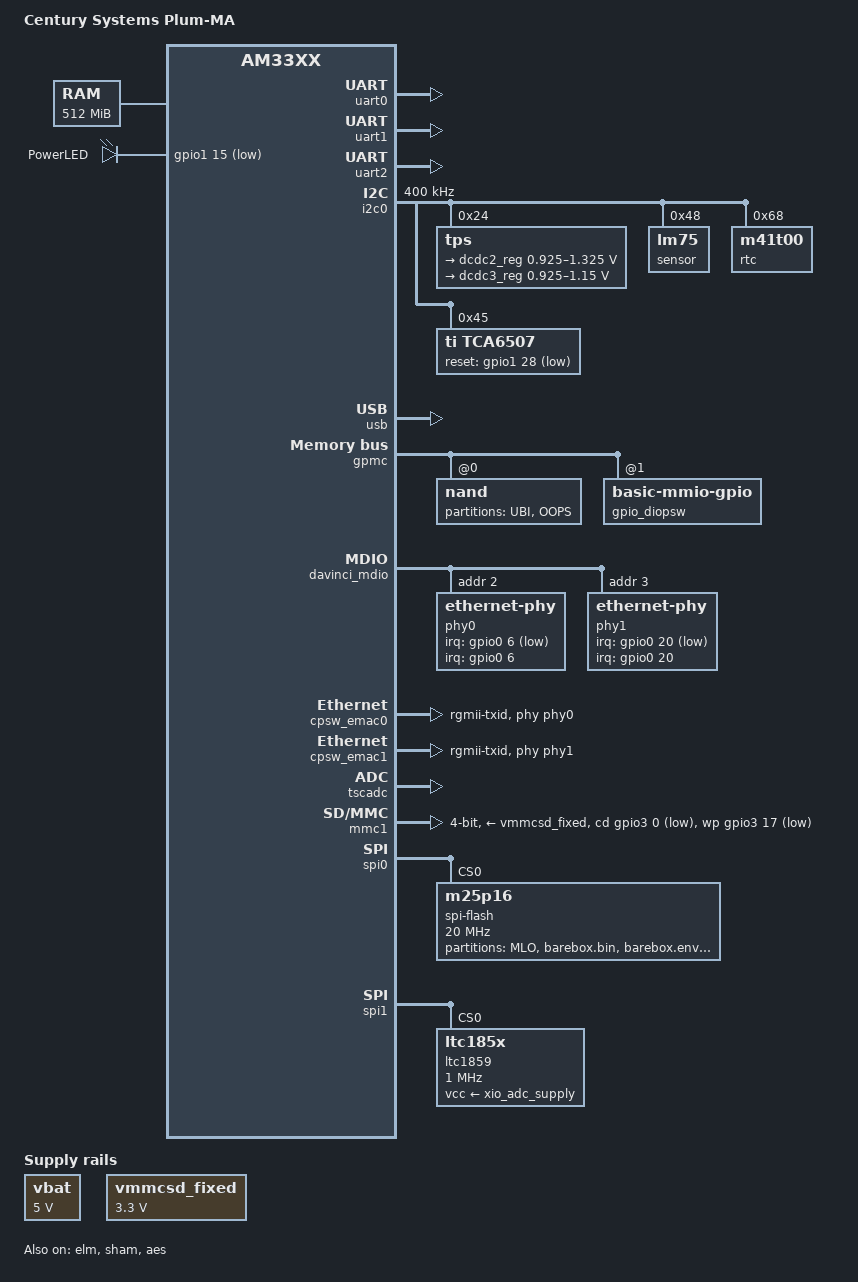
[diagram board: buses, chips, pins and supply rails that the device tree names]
/*
 * Copyright (C) 2012 Texas Instruments Incorporated - http://www.ti.com/
 *
 * This program is free software; you can redistribute it and/or modify
 * it under the terms of the GNU General Public License version 2 as
 * published by the Free Software Foundation.
 */
/dts-v1/;

#include "am33xx.dtsi"

/ {
	model = "Century Systems Plum-MA";
	compatible = "ti,plum-ma", "ti,am33xx";

	cpus {
		cpu@0 {
			cpu0-supply = <&dcdc2_reg>;

			/*
			 * To consider voltage drop between PMIC and SoC,
			 * tolerance value is reduced to 2% from 4% and
			 * voltage value is increased as a precaution.
			 */
			operating-points = <
				/* kHz    uV */
				1000000 1325000
				800000  1300000
				600000  1112000
				300000   969000
			>;
		};
	};

	memory {
		device_type = "memory";
		reg = <0x80000000 0x20000000>; /* 512 MB */
	};

	vbat: fixedregulator_vbat@0 {
		compatible = "regulator-fixed";
		regulator-name = "vbat";
		regulator-min-microvolt = <5000000>;
		regulator-max-microvolt = <5000000>;
		regulator-boot-on;
	};

	ocp {
		rtc@44e3e000 {
			compatible = "ti,am3352-rtc";
			ti,system-power-controller;
			ti,enable-rtc-clk32k;
		};

		gpio0: gpio@44e07000 {
			wakeup-source;
		};
	};

	vmmcsd_fixed: fixedregulator_mmc@0 {
		compatible = "regulator-fixed";
		regulator-name = "vmmcsd_fixed";
		regulator-min-microvolt = <3300000>;
		regulator-max-microvolt = <3300000>;
	};

	xio_adc_supply: fixedregulator_adc@0 {
		compatible = "regulator-fixed";
		regulator-name = "xio-adc-supply";
		regulator-min-microvolt = <15000000>;
		regulator-max-microvolt = <15000000>;
		status = "disabled";
	};

	xio_di_supply: fixedregulator_di@0 {
		compatible = "regulator-fixed";
		regulator-name = "xio-di-supply";
		regulator-min-microvolt = <24000000>;
		regulator-max-microvolt = <24000000>;
		status = "disabled";
	};

	xio_supply_ctrl: xio_supply_ctrl {
		compatible = "gpio-leds";
		status = "disabled";

		led@Supply0 {
			label = "AI_Power";
			gpios = <&gpiox_0x00 4 GPIO_ACTIVE_HIGH>;
			default-state = "on";
			retain-suspend;
		};

		led@Supply1 {
			label = "DI_Power";
			gpios = <&gpiox_0x00 5 GPIO_ACTIVE_HIGH>;
			default-state = "on";
			retain-suspend;
		};
	};

	leds_onboard: leds_onboard {
		pinctrl-names = "default";
		pinctrl-0 = <&power_led_pins>;

		compatible = "gpio-leds";
		status = "okay";

		led@1 {
			label = "PowerLED";
			gpios = <&gpio1 15 GPIO_ACTIVE_LOW>;
			default-state = "on";
		};
	};

	leds_foma: leds_foma {
		compatible = "gpio-leds";
		status = "disabled";

		led@x1 {
			label = "MobileLED_G3";
			gpios = <&gpiox_0x14 2 GPIO_ACTIVE_HIGH>;
		};

		led@x2 {
			label = "MobileLED_G2";
			gpios = <&gpiox_0x14 3 GPIO_ACTIVE_HIGH>;
		};

		led@x3 {
			label = "MobileLED_G1";
			gpios = <&gpiox_0x14 4 GPIO_ACTIVE_HIGH>;
		};

		led@x4 {
			label = "MobileLED_R3";
			gpios = <&gpiox_0x14 5 GPIO_ACTIVE_HIGH>;
		};

		led@x5 {
			label = "MobileLED_R2";
			gpios = <&gpiox_0x14 6 GPIO_ACTIVE_HIGH>;
		};

		led@x6 {
			label = "MobileLED_R1";
			gpios = <&gpiox_0x14 7 GPIO_ACTIVE_HIGH>;
		};
	};

	leds_foma_ctrl: leds_foma_ctrl {
		compatible = "gpio-leds";
		status = "disabled";

		led@RESETN {
			label = "Mobile_RESETN";
			gpios = <&gpiox_0x10 6 GPIO_ACTIVE_LOW>;
			linux,default-trigger = "oneshot";
		};

		led@MobilePower {
			label = "Mobile_Power";
			gpios = <&gpiox_0x10 0 GPIO_ACTIVE_HIGH>;
			default-state = "on";
		};
	};

	leds_amp_ctrl: leds_amp_ctrl {
		compatible = "gpio-leds";
		status = "disabled";

		led@PWRKEY {
			label = "Mobile_PWRKEY";
			gpios = <&gpiox_0x10 7 GPIO_ACTIVE_HIGH>;
			linux,default-trigger = "oneshot";
		};

		led@RESETN {
			label = "Mobile_RESETN";
			gpios = <&gpiox_0x10 6 GPIO_ACTIVE_LOW>;
			linux,default-trigger = "oneshot";
		};

		led@MobilePower {
			label = "Mobile_Power";
			gpios = <&gpiox_0x10 0 GPIO_ACTIVE_HIGH>;
		};
	};

	leds_amp_wlan_ctrl: leds_amp_wlan_ctrl {
		compatible = "gpio-leds";
		status = "disabled";

		led@PWRKEY {
			label = "Mobile_PWRKEY";
			gpios = <&gpiox_0x10 7 GPIO_ACTIVE_HIGH>;
			linux,default-trigger = "oneshot";
		};

		led@RESETN {
			label = "Mobile_RESETN";
			gpios = <&gpiox_0x10 6 GPIO_ACTIVE_LOW>;
			linux,default-trigger = "oneshot";
		};

		led@MobilePowerSel {
			label = "Mobile_PowerSel";
			gpios = <&gpiox_0x10 1 GPIO_ACTIVE_HIGH>;
		};

		led@MobilePower {
			label = "Mobile_Power";
			gpios = <&gpiox_0x10 0 GPIO_ACTIVE_HIGH>;
			default-state = "on";
			retain-suspend;
		};
};

	leds_au: leds_au {
		compatible = "gpio-leds";
		status = "disabled";

		led@x1 {
			label = "MobileLED_G3";
			gpios = <&gpiox_0x0e 2 GPIO_ACTIVE_HIGH>;
		};

		led@x2 {
			label = "MobileLED_G2";
			gpios = <&gpiox_0x0e 3 GPIO_ACTIVE_HIGH>;
		};

		led@x3 {
			label = "MobileLED_G1";
			gpios = <&gpiox_0x0e 4 GPIO_ACTIVE_HIGH>;
		};

		led@x4 {
			label = "MobileLED_R3";
			gpios = <&gpiox_0x0e 5 GPIO_ACTIVE_HIGH>;
		};

		led@x5 {
			label = "MobileLED_R2";
			gpios = <&gpiox_0x0e 6 GPIO_ACTIVE_HIGH>;
		};

		led@x6 {
			label = "MobileLED_R1";
			gpios = <&gpiox_0x0e 7 GPIO_ACTIVE_HIGH>;
		};
	};

	leds_au_ctrl: leds_au_ctrl {
		compatible = "gpio-leds";
		status = "disabled";

		led@MobilePower {
			label = "Mobile_Power";
			gpios = <&gpiox_0x08 0 GPIO_ACTIVE_HIGH>;
		};

		led@RESETN {
			label = "Mobile_RESETN";
			gpios = <&gpiox_0x08 6 GPIO_ACTIVE_LOW>;
			linux,default-trigger = "oneshot";
		};

		led@PWR_ON {
			label = "Mobile_PWR_ON";
			gpios = <&gpiox_0x08 7 GPIO_ACTIVE_LOW>;
			linux,default-trigger = "oneshot";
		};
	};

	leds_au_wlan_ctrl: leds_au_wlan_ctrl {
		compatible = "gpio-leds";
		status = "disabled";

		led@MobilePower {
			label = "Mobile_Power";
			gpios = <&gpiox_0x0e_wlan 0 GPIO_ACTIVE_HIGH>;
			default-state = "on";
			retain-suspend;
		};

		led@MobilePowerSel {
			label = "Mobile_PowerSel";
			gpios = <&gpiox_0x0e_wlan 1 GPIO_ACTIVE_HIGH>;
		};

		led@RESETN {
			label = "Mobile_RESETN";
			gpios = <&gpiox_0x0e_wlan 6 GPIO_ACTIVE_LOW>;
			linux,default-trigger = "oneshot";
		};

		led@PWR_ON {
			label = "Mobile_PWR_ON";
			gpios = <&gpiox_0x0e_wlan 7 GPIO_ACTIVE_LOW>;
			linux,default-trigger = "oneshot";
		};
	};

	leds_um03_ctrl: leds_um03_ctrl {
		compatible = "gpio-leds";
		status = "disabled";

		led@MobilePower {
			label = "Mobile_Power";
			gpios = <&gpiox_0x08 0 GPIO_ACTIVE_HIGH>;
			default-state = "on";
		};

		led@XER {
			label = "Mobile_XER";
			gpios = <&gpiox_0x08 3 GPIO_ACTIVE_LOW>;
		};

		led@USB_H_RDY {
			label = "Mobile_USB_H_RDY";
			gpios = <&gpiox_0x08 4 GPIO_ACTIVE_LOW>;
			default-state = "on";
		};

		led@PWRKEY_OFF {
			label = "Mobile_PWRKEY_OFF";
			gpios = <&gpiox_0x08 5 GPIO_ACTIVE_LOW>;
			linux,default-trigger = "oneshot";
		};

		led@SYSRST {
			label = "Mobile_SYSRST";
			gpios = <&gpiox_0x08 6 GPIO_ACTIVE_LOW>;
		};

		led@PWRKEY_ON {
			label = "Mobile_PWRKEY_ON";
			gpios = <&gpiox_0x08 7 GPIO_ACTIVE_LOW>;
			linux,default-trigger = "oneshot";
		};
	};

	leds_wlan_ctrl: leds_wlan_ctrl {
		compatible = "gpio-leds";
		status = "disabled";

		led@WLAN_Power {
			label = "WLAN_Power";
			gpios = <&gpiox_0x08_wlan 0 GPIO_ACTIVE_HIGH>;
			default-state = "on";
		};

		led@WLAN_PowerSel {
			label = "WLAN_PowerSel";
			gpios = <&gpiox_0x08_wlan 1 GPIO_ACTIVE_HIGH>;
			retain-suspend;
		};

		led@WPS_Pin {
			label = "WPS_Pin";
			gpios = <&gpiox_0x08_wlan 2 GPIO_ACTIVE_HIGH>;
			default-state = "off";
		};
	};

	leds_mobile_wlan: leds_mobile_wlan {
		compatible = "gpio-leds";
		status = "disabled";

		led@x1 {
			label = "WiFiLED_G1";
			gpios = <&gpiox_0x14 0 GPIO_ACTIVE_HIGH>;
			linux,default-trigger = "phy0tpt";
		};

		led@x2 {
			label = "WiFiLED_R1";
			gpios = <&gpiox_0x14 1 GPIO_ACTIVE_HIGH>;
			linux,default-trigger = "phy0rx";
		};

		led@x3 {
			label = "MobileLED_G3";
			gpios = <&gpiox_0x14 2 GPIO_ACTIVE_HIGH>;
		};

		led@x4 {
			label = "MobileLED_G2";
			gpios = <&gpiox_0x14 3 GPIO_ACTIVE_HIGH>;
		};

		led@x5 {
			label = "MobileLED_G1";
			gpios = <&gpiox_0x14 4 GPIO_ACTIVE_HIGH>;
		};

		led@x6 {
			label = "MobileLED_R3";
			gpios = <&gpiox_0x14 5 GPIO_ACTIVE_HIGH>;
		};

		led@x7 {
			label = "MobileLED_R2";
			gpios = <&gpiox_0x14 6 GPIO_ACTIVE_HIGH>;
		};

		led@x8 {
			label = "MobileLED_R1";
			gpios = <&gpiox_0x14 7 GPIO_ACTIVE_HIGH>;
		};
	};

	leds_mobile_wlan_mediatek: leds_mobile_wlan_mediatek {
		compatible = "gpio-leds";
		status = "disabled";

		led@x1 {
			label = "WiFiLED_G1";
			gpios = <&gpiox_0x14 0 GPIO_ACTIVE_HIGH>;
			linux,default-trigger = "phy0radio";
		};

		led@x2 {
			label = "WiFiLED_R1";
			gpios = <&gpiox_0x14 1 GPIO_ACTIVE_HIGH>;
			linux,default-trigger = "phy0rx";
		};

		led@x3 {
			label = "MobileLED_G3";
			gpios = <&gpiox_0x14 2 GPIO_ACTIVE_HIGH>;
		};

		led@x4 {
			label = "MobileLED_G2";
			gpios = <&gpiox_0x14 3 GPIO_ACTIVE_HIGH>;
		};

		led@x5 {
			label = "MobileLED_G1";
			gpios = <&gpiox_0x14 4 GPIO_ACTIVE_HIGH>;
		};

		led@x6 {
			label = "MobileLED_R3";
			gpios = <&gpiox_0x14 5 GPIO_ACTIVE_HIGH>;
		};

		led@x7 {
			label = "MobileLED_R2";
			gpios = <&gpiox_0x14 6 GPIO_ACTIVE_HIGH>;
		};

		led@x8 {
			label = "MobileLED_R1";
			gpios = <&gpiox_0x14 7 GPIO_ACTIVE_HIGH>;
		};
	};

	leds_do: leds_do {
		compatible = "gpio-leds";
		status = "disabled";

		led@do0 {
			label = "DO_0";
			gpios = <&gpiox_0x80 0 GPIO_ACTIVE_HIGH>;
		};

		led@do1 {
			label = "DO_1";
			gpios = <&gpiox_0x80 1 GPIO_ACTIVE_HIGH>;
		};

		led@do2 {
			label = "DO_2";
			gpios = <&gpiox_0x80 2 GPIO_ACTIVE_HIGH>;
		};

		led@do3 {
			label = "DO_3";
			gpios = <&gpiox_0x80 3 GPIO_ACTIVE_HIGH>;
		};

		led@do4 {
			label = "DO_4";
			gpios = <&gpiox_0x80 4 GPIO_ACTIVE_HIGH>;
		};

		led@do5 {
			label = "DO_5";
			gpios = <&gpiox_0x80 5 GPIO_ACTIVE_HIGH>;
		};

		led@do6 {
			label = "DO_6";
			gpios = <&gpiox_0x80 6 GPIO_ACTIVE_HIGH>;
		};

		led@do7 {
			label = "DO_7";
			gpios = <&gpiox_0x80 7 GPIO_ACTIVE_HIGH>;
		};
	};

	aliases {
		xio_02 = &xio_02;
		xio_03 = &xio_03;
		xio_04 = &xio_04;

		xio_06 = &xio_06;

		xio_07 = &xio_07_0a;
		xio_08 = &xio_07_0a;
		xio_09 = &xio_07_0a;
		xio_0a = &xio_07_0a;

		xio_0b = &xio_0b;
		xio_0c = &xio_0c;

		xio_0d = &xio_0d_0e;
		xio_0e = &xio_0d_0e;

		xio_0f = &xio_0f_10;
		xio_10 = &xio_0f_10;

		xio_12 = &xio_12;
		xio_13 = &xio_13_14;
		xio_14 = &xio_13_14;
		xio_15 = &xio_15;
		xio_16 = &xio_16_17;
		xio_17 = &xio_16_17;

		xio_1d = &xio_1d_1e;
		xio_1e = &xio_1d_1e;
	};

	/* XIO: (id: 0x02) FOMA only */
	xio_02: xio@0x02 {
		#size-cells = <0>;
		devices = <&gpiox_0x10 &gpiox_0x12 &gpiox_0x14
			   &leds_foma &leds_foma_ctrl>;
	};

	/* XIO: (id: 0x03) FOMA/UARTx2/DIO */
	xio_03: xio@0x03 {
		#size-cells = <0>;
		devices = <&uartx2_0x20 &uartx2_0x30
			   &gpiox_0x10 &gpiox_0x12 &gpiox_0x14
			   &gpiox_0x18 &gpiox_0x1a
			   &gpiox_0x40 &gpiox_0x80
			   &leds_foma &leds_foma_ctrl
			   &leds_do>;
	};

	/* XIO: (id: 0x04) UARTx2/DIO */
	xio_04: xio@0x04 {
		#size-cells = <0>;
		devices = <&uartx2_0x20 &uartx2_0x30
			   &gpiox_0x14
			   &gpiox_0x18 &gpiox_0x1a
			   &gpiox_0x40 &gpiox_0x80
			   &leds_foma &leds_do>;
	};

	/* XIO: (id: 0x06) KYM11 */
	xio_06: xio@0x06 {
		#size-cells = <0>;
		devices = <&gpiox_0x08 &gpiox_0x0a &gpiox_0x0c &gpiox_0x0e
			   &gpiox_0x04_kym11
			   &leds_au &leds_au_ctrl>;
	};

	/* XIO: (id: 0x07 .. 0x0a) FOMA/DIO(2x2) */
	xio_07_0a: xio@0x07_0a {
		#size-cells = <0>;
		devices = <&gpiox_0x10 &gpiox_0x12 &gpiox_0x14
			   &gpiox_0x40 &gpiox_0x80
			   &gpiox_0x04_lisa
			   &leds_foma &leds_foma_ctrl>;
	};

	/* XIO: (id: 0x0b) KYM11_AD */
	xio_0b: xio@0x0b {
		#size-cells = <0>;
		devices = <&xio_supply_ctrl &xio_di_supply &xio_adc_supply
			   &spi1
			   &uartx2_0x20
			   &gpiox_0x00 &gpiox_0x08 &gpiox_0x0a &gpiox_0x0c &gpiox_0x0e
			   &gpiox_0x18
			   &gpiox_0x40 &gpiox_0x80
			   &gpiox_0x04_kym11
			   &leds_au &leds_au_ctrl &leds_do>;
	};

	/* XIO: (id: 0x0c) UM03_AD */
	xio_0c: xio@0x0c {
		#size-cells = <0>;
		devices = <&xio_supply_ctrl &xio_di_supply &xio_adc_supply
			   &spi1
			   &uartx2_0x20
			   &gpiox_0x00 &gpiox_0x08
			   &gpiox_0x0a_um03ko &gpiox_0x0c_um03ko &gpiox_0x0e
			   &gpiox_0x18
			   &gpiox_0x40 &gpiox_0x80
			   &gpiox_0x04_um03ko
			   &leds_au &leds_um03_ctrl &leds_do>;
	};

	/* XIO: (id: 0x0d .. 0x0e) LTE/DIO(2x2) */
	xio_0d_0e: xio@0x0d_0e {
		#size-cells = <0>;
		devices = <&gpiox_0x10 &gpiox_0x12 &gpiox_0x14
			   &gpiox_0x40 &gpiox_0x80
			   &gpiox_0x04_lisa
			   &leds_foma &leds_amp_ctrl>;
	};

	/* XIO: (id: 0x0f .. 0x10) FOMA/RM-92x */
	xio_0f_10: xio@0x0f_10 {
		#size-cells = <0>;
		devices = <&uartx2_0x20
			   &gpiox_0x10 &gpiox_0x12 &gpiox_0x14
			   &gpiox_0x18
			   &gpiox_0x04_lisa
			   &leds_foma &leds_foma_ctrl>;
	};

	/* XIO: (id: 0x12) KYM_WLAN (Atheros) */
	xio_12: xio@0x12 {
		#size-cells = <0>;
		devices = <&gpiox_0x04_kym11
			   &gpiox_0x08_wlan &gpiox_0x0e_wlan
			   &gpiox_0x10_kymwlan &gpiox_0x12_kymwlan &gpiox_0x14
			   &leds_mobile_wlan &leds_wlan_ctrl &leds_au_wlan_ctrl>;
	};

	/* XIO: (id: 0x13/0x14) AMP_WLAN (Atheros) */
	xio_13_14: xio@0x13_14 {
		#size-cells = <0>;
		devices = <&gpiox_0x04_lisa
			   &gpiox_0x08_wlan &gpiox_0x10 &gpiox_0x12 &gpiox_0x14
			   &leds_amp_wlan_ctrl &leds_mobile_wlan &leds_wlan_ctrl>;
	};

	/* XIO: (id: 0x15) KYM_WLAN (Mediatek) */
	xio_15: xio@0x15 {
		#size-cells = <0>;
		devices = <&gpiox_0x04_kym11
			   &gpiox_0x08_wlan &gpiox_0x0e_wlan
			   &gpiox_0x10_kymwlan &gpiox_0x12_kymwlan &gpiox_0x14
			   &leds_mobile_wlan_mediatek &leds_wlan_ctrl &leds_au_wlan_ctrl>;
	};

	/* XIO: (id: 0x16/0x17) AMP_WLAN (Mediatek) */
	xio_16_17: xio@0x16_17 {
		#size-cells = <0>;
		devices = <&gpiox_0x04_lisa
			   &gpiox_0x08_wlan &gpiox_0x10 &gpiox_0x12 &gpiox_0x14
			   &leds_amp_wlan_ctrl &leds_mobile_wlan_mediatek &leds_wlan_ctrl>;
	};

	/* XIO: (id: 0x1d/0x1e) AMP_AD */
	xio_1d_1e: xio@0x1d_1e {
		#size-cells = <0>;
		devices = <&xio_supply_ctrl &xio_di_supply &xio_adc_supply
			   &spi1
			   &uartx2_0x20
			   &gpiox_0x00 &gpiox_0x08
			   &gpiox_0x10 &gpiox_0x12 &gpiox_0x14
			   &gpiox_0x18
			   &gpiox_0x40 &gpiox_0x80
			   &gpiox_0x04_lisa
			   &leds_foma &leds_amp_wlan_ctrl &leds_do>;
	};
};

&am33xx_pinmux {
	pinctrl-names = "default";
	//pinctrl-0 = <&clkout2_pin>;

	i2c0_pins: pinmux_i2c0_pins {
		pinctrl-single,pins = <
			0x188 (PIN_INPUT_PULLUP | MUX_MODE0)	/* i2c0_sda.i2c0_sda */
			0x18c (PIN_INPUT_PULLUP | MUX_MODE0)	/* i2c0_scl.i2c0_scl */

			/* TCA6507 Reset# */
			0x078 (PIN_OUTPUT | MUX_MODE7)		/* gpmc_ben1.gpio1_28 */
		>;
	};

	uart0_pins: pinmux_uart0_pins {
		pinctrl-single,pins = <
			0x170 (PIN_INPUT | MUX_MODE0)  /* uart0_rxd.uart0_rxd */
			0x174 (PIN_OUTPUT | MUX_MODE0) /* uart0_txd.uart0_txd */
			0x16c (PIN_OUTPUT | MUX_MODE0) /* uart0_rtsn.uart0_rtsn */
			0x168 (PIN_INPUT | MUX_MODE0)  /* uart0_ctsn.uart0_ctsn */
			0x0e0 (PIN_OUTPUT | MUX_MODE7) /* lcd_vsync.gpio2_22 (DTR) */
			0x0e4 (PIN_INPUT | MUX_MODE7)  /* lcd_hsync.gpio2_23 (DSR) */
			0x0e8 (PIN_INPUT | MUX_MODE7)  /* lcd_pclk.gpio2_24  (DCD) */
		>;
	};

	uart1_pins: pinmux_uart1_pins {
		pinctrl-single,pins = <
			0x180 (PIN_INPUT | MUX_MODE0)  /* uart1_rxd.uart1_rxd */
			0x184 (PIN_OUTPUT | MUX_MODE0) /* uart1_txd.uart1_txd */
			0x17c (PIN_OUTPUT | MUX_MODE0) /* uart1_rtsn.uart1_rtsn */
			0x178 (PIN_INPUT | MUX_MODE0)  /* uart1_ctsn.uart1_ctsn */
			0x030 (PIN_OUTPUT | MUX_MODE7) /* gpmc_ad12.gpio1_12 (DTR) */
			0x034 (PIN_INPUT | MUX_MODE7)  /* gpmc_ad13.gpio1_13 (DSR) */
			0x038 (PIN_INPUT | MUX_MODE7)  /* gpmc_ad14.gpio1_14 (DCD) */
			0x02c (PIN_INPUT | MUX_MODE7)  /* gpmc_ad11.gpio0_27 (RI)  */

			0x1a8 (PIN_OUTPUT | MUX_MODE7) /* mcasp0_axr1.gpio3_20   (TxE) */
			0x1ac (PIN_OUTPUT | MUX_MODE7) /* mcasp0_ahclkx.gpio3_21 (RxE) */
		>;
	};

	uart2_pins: pinmux_uart2_pins {
		pinctrl-single,pins = <
			0x110 (PIN_INPUT | MUX_MODE6)  /* mii1_crs.uart2_rxd */
			0x10c (PIN_OUTPUT | MUX_MODE6) /* mii1_rx_er.uart2_txd */
		>;
	};

	nandflash_pins_s0: nandflash_pins_s0 {
		pinctrl-single,pins = <
			0x0 (PIN_INPUT | MUX_MODE0)	/* gpmc_ad0.gpmc_ad0 */
			0x4 (PIN_INPUT | MUX_MODE0)	/* gpmc_ad1.gpmc_ad1 */
			0x8 (PIN_INPUT | MUX_MODE0)	/* gpmc_ad2.gpmc_ad2 */
			0xc (PIN_INPUT | MUX_MODE0)	/* gpmc_ad3.gpmc_ad3 */
			0x10 (PIN_INPUT | MUX_MODE0)	/* gpmc_ad4.gpmc_ad4 */
			0x14 (PIN_INPUT | MUX_MODE0)	/* gpmc_ad5.gpmc_ad5 */
			0x18 (PIN_INPUT | MUX_MODE0)	/* gpmc_ad6.gpmc_ad6 */
			0x1c (PIN_INPUT | MUX_MODE0)	/* gpmc_ad7.gpmc_ad7 */
			0x70 (PIN_INPUT | MUX_MODE0)	/* gpmc_wait0.gpmc_wait0 */
			0x74 (PIN_OUTPUT | MUX_MODE7)	/* gpmc_wpn.gpio0_30 */
			0x7c (PIN_OUTPUT | MUX_MODE0)	/* gpmc_csn0.gpmc_csn0  */
			0x90 (PIN_OUTPUT | MUX_MODE0)	/* gpmc_advn_ale.gpmc_advn_ale */
			0x94 (PIN_OUTPUT | MUX_MODE0)	/* gpmc_oen_ren.gpmc_oen_ren */
			0x98 (PIN_OUTPUT | MUX_MODE0)	/* gpmc_wen.gpmc_wen */
			0x9c (PIN_OUTPUT | MUX_MODE0)	/* gpmc_be0n_cle.gpmc_be0n_cle */
		>;
	};

	cpsw_default: cpsw_default {
		pinctrl-single,pins = <
			/* Slave 1 */
			0x114 (PIN_OUTPUT_PULLDOWN | MUX_MODE2) /* mii1_txen.rgmii1_tctl */
			0x118 (PIN_INPUT_PULLDOWN | MUX_MODE2)	/* mii1_rxdv.rgmii1_rctl */
			0x11c (PIN_OUTPUT_PULLDOWN | MUX_MODE2) /* mii1_txd3.rgmii1_td3 */
			0x120 (PIN_OUTPUT_PULLDOWN | MUX_MODE2) /* mii1_txd2.rgmii1_td2 */
			0x124 (PIN_OUTPUT_PULLDOWN | MUX_MODE2) /* mii1_txd1.rgmii1_td1 */
			0x128 (PIN_OUTPUT_PULLDOWN | MUX_MODE2) /* mii1_txd0.rgmii1_td0 */
			0x12c (PIN_OUTPUT_PULLDOWN | MUX_MODE2) /* mii1_txclk.rgmii1_tclk */
			0x130 (PIN_INPUT_PULLDOWN | MUX_MODE2)	/* mii1_rxclk.rgmii1_rclk */
			0x134 (PIN_INPUT_PULLDOWN | MUX_MODE2)	/* mii1_rxd3.rgmii1_rd3 */
			0x138 (PIN_INPUT_PULLDOWN | MUX_MODE2)	/* mii1_rxd2.rgmii1_rd2 */
			0x13c (PIN_INPUT_PULLDOWN | MUX_MODE2)	/* mii1_rxd1.rgmii1_rd1 */
			0x140 (PIN_INPUT_PULLDOWN | MUX_MODE2)	/* mii1_rxd0.rgmii1_rd0 */

			/* Slave 2 */
			0x40 (PIN_OUTPUT_PULLDOWN | MUX_MODE2)	/* gpmc_a0.rgmii2_tctl */
			0x44 (PIN_INPUT_PULLDOWN | MUX_MODE2)	/* gpmc_a1.rgmii2_rctl */
			0x48 (PIN_OUTPUT_PULLDOWN | MUX_MODE2)	/* gpmc_a2.rgmii2_td3 */
			0x4c (PIN_OUTPUT_PULLDOWN | MUX_MODE2)	/* gpmc_a3.rgmii2_td2 */
			0x50 (PIN_OUTPUT_PULLDOWN | MUX_MODE2)	/* gpmc_a4.rgmii2_td1 */
			0x54 (PIN_OUTPUT_PULLDOWN | MUX_MODE2)	/* gpmc_a5.rgmii2_td0 */
			0x58 (PIN_OUTPUT_PULLDOWN | MUX_MODE2)	/* gpmc_a6.rgmii2_tclk */
			0x5c (PIN_INPUT_PULLDOWN | MUX_MODE2)	/* gpmc_a7.rgmii2_rclk */
			0x60 (PIN_INPUT_PULLDOWN | MUX_MODE2)	/* gpmc_a8.rgmii2_rd3 */
			0x64 (PIN_INPUT_PULLDOWN | MUX_MODE2)	/* gpmc_a9.rgmii2_rd2 */
			0x68 (PIN_INPUT_PULLDOWN | MUX_MODE2)	/* gpmc_a10.rgmii2_rd1 */
			0x6c (PIN_INPUT_PULLDOWN | MUX_MODE2)	/* gpmc_a11.rgmii2_rd0 */
		>;
	};

	cpsw_sleep: cpsw_sleep {
		pinctrl-single,pins = <
			/* Slave 1 reset value */
			0x114 (PIN_INPUT_PULLDOWN | MUX_MODE7)
			0x118 (PIN_INPUT_PULLDOWN | MUX_MODE7)
			0x11c (PIN_INPUT_PULLDOWN | MUX_MODE7)
			0x120 (PIN_INPUT_PULLDOWN | MUX_MODE7)
			0x124 (PIN_INPUT_PULLDOWN | MUX_MODE7)
			0x128 (PIN_INPUT_PULLDOWN | MUX_MODE7)
			0x12c (PIN_INPUT_PULLDOWN | MUX_MODE7)
			0x130 (PIN_INPUT_PULLDOWN | MUX_MODE7)
			0x134 (PIN_INPUT_PULLDOWN | MUX_MODE7)
			0x138 (PIN_INPUT_PULLDOWN | MUX_MODE7)
			0x13c (PIN_INPUT_PULLDOWN | MUX_MODE7)
			0x140 (PIN_INPUT_PULLDOWN | MUX_MODE7)

			/* Slave 2 reset value*/
			0x40 (PIN_INPUT_PULLDOWN | MUX_MODE7)
			0x44 (PIN_INPUT_PULLDOWN | MUX_MODE7)
			0x48 (PIN_INPUT_PULLDOWN | MUX_MODE7)
			0x4c (PIN_INPUT_PULLDOWN | MUX_MODE7)
			0x50 (PIN_INPUT_PULLDOWN | MUX_MODE7)
			0x54 (PIN_INPUT_PULLDOWN | MUX_MODE7)
			0x58 (PIN_INPUT_PULLDOWN | MUX_MODE7)
			0x5c (PIN_INPUT_PULLDOWN | MUX_MODE7)
			0x60 (PIN_INPUT_PULLDOWN | MUX_MODE7)
			0x64 (PIN_INPUT_PULLDOWN | MUX_MODE7)
			0x68 (PIN_INPUT_PULLDOWN | MUX_MODE7)
			0x6c (PIN_INPUT_PULLDOWN | MUX_MODE7)
		>;
	};

	davinci_mdio_default: davinci_mdio_default {
		pinctrl-single,pins = <
			/* MDIO */
			0x148 (PIN_INPUT | SLEWCTRL_FAST | MUX_MODE0)	/* mdio_data.mdio_data */
			0x14c (PIN_OUTPUT | MUX_MODE0)			/* mdio_clk.mdio_clk */

			/* PHY0/1 Reset */
			0x1a0 (PIN_OUTPUT | MUX_MODE7)		/* mcasp0_aclkr.gpio3_18 */
			0x1a4 (PIN_OUTPUT | MUX_MODE7)		/* mcasp0_fsr.gpio3_19 */

			/* PHY0/1 Interrupt */
			0x160 (PIN_INPUT | MUX_MODE7)		/* spi0_cs1.gpio0_6 */
			0x1b4 (PIN_INPUT | MUX_MODE7)		/* xdma_event_intr1.gpio0_20 */

			/* Link LED GPIO */
			0x0c0 (PIN_OUTPUT | MUX_MODE7)		/* lcd_data8.gpio2_14 */
			0x0c4 (PIN_OUTPUT | MUX_MODE7)		/* lcd_data9.gpio2_15 */
			0x0c8 (PIN_OUTPUT | MUX_MODE7)		/* lcd_data10.gpio2_16 */
			0x0cc (PIN_OUTPUT | MUX_MODE7)		/* lcd_data11.gpio2_17 */
		>;
	};

	davinci_mdio_sleep: davinci_mdio_sleep {
		pinctrl-single,pins = <
			/* MDIO reset value */
			0x148 (PIN_INPUT_PULLDOWN | MUX_MODE7)
			0x14c (PIN_INPUT_PULLDOWN | MUX_MODE7)

			/* PHY0/1 Reset */
			0x1a0 (PIN_OUTPUT | MUX_MODE7)		/* mcasp0_aclkr.gpio3_18 */
			0x1a4 (PIN_OUTPUT | MUX_MODE7)		/* mcasp0_fsr.gpio3_19 */
		>;
	};

	mmc1_pins: pinmux_mmc1_pins {
		pinctrl-single,pins = <
			0x108 (PIN_INPUT | MUX_MODE7) /* mii1_col.gpio3_0 */
			0x19c (PIN_INPUT | MUX_MODE7) /* mcasp0_ahclkr.gpio3_17 */
		>;
	};

	spi1_pins: pinmux_spi1_pins {
		pinctrl-single,pins = <
			0x190 (PIN_OUTPUT | PIN_INPUT | MUX_MODE3) /* mcasp0_aclkx.spi1_sclk */
			0x194 (PIN_INPUT  | MUX_MODE3) /* mcasp0_fsx.spi1_d0 */
			0x198 (PIN_OUTPUT | MUX_MODE3) /* mcasp0_axr0.spi1_d1 */
			0x144 (PIN_OUTPUT | MUX_MODE2) /* rmii_ref_clk.spi1_cs0 */
		>;
	};

	power_led_pins: pinmux_power_led_pins {
		pinctrl-single,pins = <
			0x03c (PIN_OUTPUT | MUX_MODE7) /* gpmc_ad15.gpio1_15 */
		>;
	};

	uartx3_pins: pinmux_uartx3_pins {
		pinctrl-single,pins = <
			0x20 (PIN_INPUT | MUX_MODE7)	/* gpmc_ad8.gpio0_22 */
		>;
	};

	uartx4_pins: pinmux_uartx4_pins {
		pinctrl-single,pins = <
			0x20 (PIN_INPUT | MUX_MODE7)	/* gpmc_ad8.gpio0_22 */
		>;
	};
};

&uart0 {
	pinctrl-names = "default";
	pinctrl-0 = <&uart0_pins>;

	dtr-gpio = <&gpio2 22 GPIO_ACTIVE_LOW>;
	dsr-gpio = <&gpio2 23 GPIO_ACTIVE_LOW>;
	dcd-gpio = <&gpio2 24 GPIO_ACTIVE_LOW>;

	status = "okay";
};

&uart1 {
	pinctrl-names = "default";
	pinctrl-0 = <&uart1_pins>;

	dtr-gpio = <&gpio1 12 GPIO_ACTIVE_LOW>;
	dsr-gpio = <&gpio1 13 GPIO_ACTIVE_LOW>;
	dcd-gpio = <&gpio1 14 GPIO_ACTIVE_LOW>;
	ri-gpio  = <&gpio0 27 GPIO_ACTIVE_LOW>;

	txe-gpio = <&gpio3 20 GPIO_ACTIVE_HIGH>;
	rxe-gpio = <&gpio3 21 GPIO_ACTIVE_LOW>;

	status = "okay";
};

&uart2 {
	pinctrl-names = "default";
	pinctrl-0 = <&uart2_pins>;

	status = "okay";
};

&i2c0 {
	pinctrl-names = "default";
	pinctrl-0 = <&i2c0_pins>;

	status = "okay";
	clock-frequency = <400000>;

	tps: tps@24 {
		reg = <0x24>;
	};

	sensor: lm75@48 {
		compatible = "lm75";
		reg = <0x48>;
	};

	rtc: m41t00@68 {
		compatible = "m41t00";
		reg = <0x68>;
	};

	tca6507@45 {
		compatible = "ti,tca6507";
		#address-cells = <1>;
		#size-cells = <0>;
		reg = <0x45>;

		reset-gpio = <&gpio1 28 GPIO_ACTIVE_LOW>;

		led0: power-status-red@0 {
			label = "power-stat:r";
			reg = <0x0>;
		};

		led1: system-status1-red@1 {
			label = "system-status1:r";
			reg = <0x1>;
			linux,default-trigger = "heartbeat";
		};

		led2: system-status2-red@2 {
			label = "system-status2:r";
			reg = <0x2>;
		};

		led3: system-status3-red@3 {
			label = "system-status3:r";
			reg = <0x3>;
		};

		led4: system-status1-green@4 {
			label = "system-status1:g";
			reg = <0x4>;
			linux,default-trigger = "timer-suspend";
		};

		led5: system-status2-green@5 {
			label = "system-status2:g";
			reg = <0x5>;
		};

		led6: system-status3-green@6 {
			label = "system-status3:g";
			reg = <0x6>;
		};
	};
};

&usb {
	status = "okay";

	control@44e10620 {
		status = "okay";
	};

	usb-phy@47401300 {
		status = "okay";
		vcc-supply = <&vbat>;
	};

	usb-phy@47401b00 {
		status = "okay";
		vcc-supply = <&vbat>;
	};

	usb@47401000 {
		status = "okay";
		dr_mode = "host";
	};

	usb@47401800 {
		status = "okay";
		dr_mode = "host";
	};

	dma-controller@47402000  {
		status = "okay";
	};
};

&elm {
	status = "okay";
};

&gpmc {
	status = "okay";
	pinctrl-names = "default";
	pinctrl-0 = <&nandflash_pins_s0>;
	ranges = <0 0 0x08000000 0x01000000	/* CS0 : NAND */
		  1 0 0x10000000 0x01000000	/* CS1 : DIPSW */
		  2 0 0x11000000 0x01000000>;	/* CS2 : eXternal I/O */
	nand@0,0 {
		reg = <0 0 0>; /* CS0, offset 0 */
		nand-bus-width = <8>;
		ti,nand-ecc-opt = "bch8";
		gpmc,device-nand = "true";
		gpmc,device-width = <1>;
		gpmc,sync-clk-ps = <0>;
		gpmc,cs-on-ns = <0>;
		gpmc,cs-rd-off-ns = <60>;
		gpmc,cs-wr-off-ns = <50>;
		gpmc,adv-on-ns = <0>;
		gpmc,adv-rd-off-ns = <60>;
		gpmc,adv-wr-off-ns = <50>;
		gpmc,we-on-ns = <0>;
		gpmc,we-off-ns = <30>;
		gpmc,oe-on-ns = <10>;
		gpmc,oe-off-ns = <60>;
		gpmc,access-ns = <50>;
		gpmc,rd-cycle-ns = <60>;
		gpmc,wr-cycle-ns = <50>;
		gpmc,wait-on-read = "false";
		gpmc,wait-on-write = "false";
		gpmc,bus-turnaround-ns = <0>;
		gpmc,cycle2cycle-delay-ns = <10>;
		gpmc,clk-activation-ns = <0>;
		gpmc,wait-monitoring-ns = <0>;
		gpmc,wr-access-ns = <30>;
		gpmc,wr-data-mux-bus-ns = <0>;

		#address-cells = <1>;
		#size-cells = <1>;
		elm_id = <&elm>;

		/* MTD partition table */
		partition@0 {
			label = "UBI";
			reg = <0x00000000 0x0ff00000>;
		};

		partition@1 {
			label = "OOPS";
			reg = <0x0ff00000 0x00100000>;
		};
	};

	/* Onboard DIPSW */
	gpio_diopsw: gpio@1,0x00 {
		reg = <1 0x0000000 0x00000001>;
		#gpio-cells = <2>;
		compatible = "basic-mmio-gpio", "linux,basic-mmio-gpio";
		gpio-controller;
		reg-names = "dat";

		status = "okay";
	};

	uartx2_0x20: uart@2,0x20 {
		reg = <2 0x00000020 0x00000008>;
		compatible = "ns16550a";

		status = "disabled";

		current-speed = <115200>;
		reg-shift = <1>;
		reg-io-width = <1>;
		#address-cells = <1>;
		#size-cells = <1>;
		reg-offset = <0x0>;
		clock-frequency = <7372800>;

		#interrupt-cells = <2>;
		interrupt-parent = <&gpio0>;
		interrupts = <22 8>;
		irq-gpio = <&gpio0 22 GPIO_ACTIVE_LOW>;

		txen_gpio = <&gpiox_0x18 0 GPIO_ACTIVE_HIGH>;
		rxen_gpio = <&gpiox_0x18 1 GPIO_ACTIVE_LOW>;
		type_gpio = <&gpiox_0x18 2 GPIO_ACTIVE_HIGH>;

		pinctrl-names = "default";
		pinctrl-0 = <&uartx3_pins>;
	};

	uartx2_0x30: uart@2,0x30 {
		reg = <2 0x00000030 0x00000008>;
		compatible = "ns16550a";

		status = "disabled";

		current-speed = <115200>;
		reg-shift = <1>;
		reg-io-width = <1>;
		#address-cells = <1>;
		#size-cells = <1>;
		reg-offset = <0x0>;
		clock-frequency = <7372800>;

		#interrupt-cells = <2>;
		interrupt-parent = <&gpio0>;
		interrupts = <22 8>;
		irq-gpio = <&gpio0 22 GPIO_ACTIVE_LOW>;

		txen_gpio = <&gpiox_0x1a 0 GPIO_ACTIVE_HIGH>;
		rxen_gpio = <&gpiox_0x1a 1 GPIO_ACTIVE_LOW>;
		type_gpio = <&gpiox_0x1a 2 GPIO_ACTIVE_HIGH>;
	};

	/* XIO Board Control */
	gpiox_0x00: gpio@2,0x00 {
		reg = <2 0x00000000 0x00000001>;
		#gpio-cells = <2>;
		compatible = "basic-mmio-gpio", "linux,basic-mmio-gpio";
		gpio-controller;
		reg-names = "dat";

		status = "disabled";

		#address-cells = <1>;
		#size-cells = <0>;
	};

	/* KYM11/UM03-KO Control */
	gpiox_0x08: gpio@2,0x08 {
		reg = <2 0x00000008 0x00000001>;
		#gpio-cells = <2>;
		compatible = "basic-mmio-gpio", "linux,basic-mmio-gpio";
		gpio-controller;
		reg-names = "dat";

		status = "disabled";
	};

	/* WLAN Control */
	gpiox_0x08_wlan: gpio@2,0x08 {
		reg = <2 0x00000008 0x00000001>;
		#gpio-cells = <2>;
		compatible = "basic-mmio-gpio", "linux,basic-mmio-gpio";
		gpio-controller;
		reg-names = "dat";

		status = "disabled";
	};

	/* KYM11 Mobile Status 1 */
	gpiox_0x0a: gpio@2,0x0a {
		reg = <2 0x0000000a 0x00000001>;
		#gpio-cells = <2>;
		compatible = "basic-mmio-gpio", "linux,basic-mmio-gpio";
		gpio-controller;
		reg-names = "dat";

		status = "disabled";

		#address-cells = <1>;
		#size-cells = <0>;

		stat@0 {
			label = "SIM_CD";
			reg = <0>;
		};

		stat@1 {
			label = "ModuleMainPowerGood";
			reg = <1>;
		};
	};

	/* UM03KO Mobile Status 1 */
	gpiox_0x0a_um03ko: gpio@2,0x0a_um03ko {
		reg = <2 0x0000000a 0x00000001>;
		#gpio-cells = <2>;
		compatible = "basic-mmio-gpio", "linux,basic-mmio-gpio";
		gpio-controller;
		reg-names = "dat";

		status = "disabled";

		#address-cells = <1>;
		#size-cells = <0>;

		stat@0 {
			label = "SIM_CD";
			reg = <0>;
		};

		stat@1 {
			label = "ModuleMainPowerGood";
			reg = <1>;
		};
	};

	/* KYM11 Mobile Status 2 */
	gpiox_0x0c: gpio@2,0x0c {
		reg = <2 0x0000000c 0x00000001>;
		#gpio-cells = <2>;
		compatible = "basic-mmio-gpio", "linux,basic-mmio-gpio";
		gpio-controller;
		reg-names = "dat";

		status = "disabled";

		#address-cells = <1>;
		#size-cells = <0>;

		stat@0 {
			label = "RI";
			reg = <0>;
		};

		stat@1 {
			label = "EMG_RI";
			reg = <1>;
		};

		stat@2 {
			label = "ANTINF_0";
			reg = <2>;
		};

		stat@3 {
			label = "ANTINF_1";
			reg = <3>;
		};

		stat@4 {
			label = "MOS_IND";
			reg = <4>;
		};

		stat@5 {
			label = "RESET_CHK";
			reg = <5>;
		};

		stat@6 {
			label = "PS_HOLD";
			reg = <6>;
		};

		stat@7 {
			label = "AREA_IND";
			reg = <7>;
		};
	};

	/* UM03-KO Mobile Status 2 */
	gpiox_0x0c_um03ko: gpio@2,0x0c_um03ko {
		reg = <2 0x0000000c 0x00000001>;
		#gpio-cells = <2>;
		compatible = "basic-mmio-gpio", "linux,basic-mmio-gpio";
		gpio-controller;
		reg-names = "dat";

		status = "disabled";

		#address-cells = <1>;
		#size-cells = <0>;

		stat@0 {
			label = "RI";
			reg = <0>;
		};

		stat@1 {
			label = "CBS_ETWS_N";
			reg = <1>;
		};

		stat@2 {
			label = "SMS_N";
			reg = <2>;
		};

		stat@3 {
			label = "GPS_N";
			reg = <3>;
		};

		stat@4 {
			label = "ADL_N";
			reg = <4>;
		};

		stat@5 {
			label = "LEDGMS_N";
			reg = <5>;
		};

		stat@6 {
			label = "LEDG_N";
			reg = <6>;
		};
	};

	/* KYM11 LED */
	gpiox_0x0e: gpio@2,0x0e {
		reg = <2 0x0000000e 0x00000001>;
		#gpio-cells = <2>;
		compatible = "basic-mmio-gpio", "linux,basic-mmio-gpio";
		gpio-controller;
		reg-names = "dat";

		status = "disabled";
	};

	/* KYM-WLAN Control */
	gpiox_0x0e_wlan: gpio@2,0x0e {
		reg = <2 0x0000000e 0x00000001>;
		#gpio-cells = <2>;
		compatible = "basic-mmio-gpio", "linux,basic-mmio-gpio";
		gpio-controller;
		reg-names = "dat";

		status = "disabled";
	};

	/* FOMA Control */
	gpiox_0x10: gpio@2,0x10 {
		reg = <2 0x00000010 0x00000001>;
		#gpio-cells = <2>;
		compatible = "basic-mmio-gpio", "linux,basic-mmio-gpio";
		gpio-controller;
		reg-names = "dat";

		status = "disabled";
	};

	/* KYM11 Mobile Status 1 (WLAN) */
	gpiox_0x10_kymwlan: gpio@2,0x10_KYM {
		reg = <2 0x00000010 0x00000001>;
		#gpio-cells = <2>;
		compatible = "basic-mmio-gpio", "linux,basic-mmio-gpio";
		gpio-controller;
		reg-names = "dat";

		status = "disabled";

		#address-cells = <1>;
		#size-cells = <0>;

		stat@0 {
			label = "SIM_CD";
			reg = <0>;
		};

		stat@1 {
			label = "ModuleMainPowerGood";
			reg = <1>;
		};
	};

	/* FOMA Status */
	gpiox_0x12: gpio@2,0x12 {
		reg = <2 0x00000012 0x00000001>;
		#gpio-cells = <2>;
		compatible = "basic-mmio-gpio", "linux,basic-mmio-gpio";
		gpio-controller;
		reg-names = "dat";

		status = "disabled";

		#address-cells = <1>;
		#size-cells = <0>;

		stat@0 {
			label = "SIM_CD";
			reg = <0>;
		};

		stat@1 {
			label = "ModuleMainPowerGood";
			reg = <1>;
		};

		stat@2 {
			label = "ModuleAvailable";
			reg = <2>;
		};
	};

	/* KYM11 Mobile Status 2 (WLAN) */
	gpiox_0x12_kymwlan: gpio@2,0x12_KYM {
		reg = <2 0x00000012 0x00000001>;
		#gpio-cells = <2>;
		compatible = "basic-mmio-gpio", "linux,basic-mmio-gpio";
		gpio-controller;
		reg-names = "dat";

		status = "disabled";

		#address-cells = <1>;
		#size-cells = <0>;

		stat@0 {
			label = "RI";
			reg = <0>;
		};

		stat@1 {
			label = "EMG_RI";
			reg = <1>;
		};

		stat@2 {
			label = "ANTINF_0";
			reg = <2>;
		};

		stat@3 {
			label = "ANTINF_1";
			reg = <3>;
		};

		stat@4 {
			label = "MOS_IND";
			reg = <4>;
		};

		stat@5 {
			label = "RESET_CHK";
			reg = <5>;
		};

		stat@6 {
			label = "PS_HOLD";
			reg = <6>;
		};

		stat@7 {
			label = "AREA_IND";
			reg = <7>;
		};
	};

	/* FOMA LED */
	gpiox_0x14: gpio@2,0x14 {
		reg = <2 0x00000014 0x00000001>;
		#gpio-cells = <2>;
		compatible = "basic-mmio-gpio", "linux,basic-mmio-gpio";
		gpio-controller;
		reg-names = "dat";

		status = "disabled";
	};

	/* UART@0x20 TxEnable/RxEnable */
	gpiox_0x18: gpio@2,0x18 {
		reg = <2 0x00000018 0x00000001>;
		#gpio-cells = <2>;
		compatible = "basic-mmio-gpio", "linux,basic-mmio-gpio";
		gpio-controller;
		reg-names = "dat";

		status = "disabled";
	};

	/* UART@0x30 TxEnable/RxEnable */
	gpiox_0x1a: gpio@2,0x1a {
		reg = <2 0x0000001a 0x00000001>;
		#gpio-cells = <2>;
		compatible = "basic-mmio-gpio", "linux,basic-mmio-gpio";
		gpio-controller;
		reg-names = "dat";

		status = "disabled";
	};

	/* DIO DIN */
	gpiox_0x40: gpio@2,0x40 {
		reg = <2 0x00000040 0x00000012>;
		#gpio-cells = <2>;
		compatible = "plum,ext-DI";
		gpio-controller;

		#interrupt-cells = <2>;
		interrupt-parent = <&gpio0>;
		interrupts = <22 8>;
		irq-gpio = <&gpio0 22 GPIO_ACTIVE_LOW>;
		interrupt-controller;

		reg-names = "dat";

		status = "disabled";

		#address-cells = <1>;
		#size-cells = <0>;

		din@0 {
			label = "DI_00";
			reg = <0>;
		};

		din@1 {
			label = "DI_01";
			reg = <1>;
		};

		din@2 {
			label = "DI_02";
			reg = <2>;
		};

		din@3 {
			label = "DI_03";
			reg = <3>;
		};

		din@4 {
			label = "DI_04";
			reg = <4>;
		};

		din@5 {
			label = "DI_05";
			reg = <5>;
		};

		din@6 {
			label = "DI_06";
			reg = <6>;
		};

		din@7 {
			label = "DI_07";
			reg = <7>;
		};
	};

	/* DIO DOUT */
	gpiox_0x80: gpio@2,0x80 {
		reg = <2 0x00000080 0x00000001>;
		#gpio-cells = <2>;
		compatible = "basic-mmio-gpio", "linux,basic-mmio-gpio";
		gpio-controller;
		reg-names = "dat";

		status = "disabled";
	};

	/* XIO Interrupt Enable/Status (LISA) */
	gpiox_0x04_lisa: gpio@2,0x04_LISA {
		reg = <2 0x00000004 0x00000004>;
		#gpio-cells = <2>;
		compatible = "plum,xioirq-gpio";
		gpio-controller;

		#interrupt-cells = <2>;
		interrupt-parent = <&gpio0>;
		interrupts = <22 8>;
		irq-gpio = <&gpio0 22 GPIO_ACTIVE_LOW>;

		status = "disabled";

		#address-cells = <1>;
		#size-cells = <0>;

		stat@0 {
			label = "xio_PowerFail";
			reg = <0>;
		};

		stat@1 {
			label = "xio_RI";
			reg = <1>;
		};
	};

	/* XIO Interrupt Enable/Status (KYM-11) */
	gpiox_0x04_kym11: gpio@2,0x04_KYM {
		reg = <2 0x00000004 0x00000004>;
		#gpio-cells = <2>;
		compatible = "plum,xioirq-gpio";
		gpio-controller;

		#interrupt-cells = <2>;
		interrupt-parent = <&gpio0>;
		interrupts = <22 8>;
		irq-gpio = <&gpio0 22 GPIO_ACTIVE_LOW>;

		status = "disabled";

		#address-cells = <1>;
		#size-cells = <0>;

		stat@0 {
			label = "xio_PowerFail";
			reg = <0>;
		};

		stat@1 {
			label = "xio_RI";
			reg = <1>;
		};

		stat@2 {
			label = "xio_EMG_RI";
			reg = <2>;
		};

		stat@3 {
			label = "xio_RESET_CHK";
			reg = <3>;
		};

		stat@4 {
			label = "xio_PS_HOLD";
			reg = <4>;
		};
	};

	/* XIO Interrupt Enable/Status (UM03-KO) */
	gpiox_0x04_um03ko: gpio@2,0x04_UM03KO {
		reg = <2 0x00000004 0x00000004>;
		#gpio-cells = <2>;
		compatible = "plum,xioirq-gpio";
		gpio-controller;

		#interrupt-cells = <2>;
		interrupt-parent = <&gpio0>;
		interrupts = <22 8>;
		irq-gpio = <&gpio0 22 GPIO_ACTIVE_LOW>;

		status = "disabled";

		#address-cells = <1>;
		#size-cells = <0>;

		stat@0 {
			label = "xio_PowerFail";
			reg = <0>;
		};

		stat@1 {
			label = "xio_RI";
			reg = <1>;
		};

		stat@2 {
			label = "xio_CBS_ETWS";
			reg = <2>;
		};

		stat@3 {
			label = "xio_SMS";
			reg = <3>;
		};

		stat@4 {
			label = "xio_LEDGMS";
			reg = <4>;
		};

		stat@5 {
			label = "xio_LEDG";
			reg = <5>;
		};
	};
};

/include/ "tps65217.dtsi"

&tps {
	/*ti,pmic-shutdown-controller;*/

	regulators {
		dcdc1_reg: regulator@0 {
			regulator-always-on;
		};

		dcdc2_reg: regulator@1 {
			/* VDD_MPU voltage limits 0.95V - 1.26V with +/-4% tolerance */
			regulator-name = "vdd_mpu";
			regulator-min-microvolt = <925000>;
			regulator-max-microvolt = <1325000>;
			regulator-boot-on;
			regulator-always-on;
		};

		dcdc3_reg: regulator@2 {
			/* VDD_CORE voltage limits 0.95V - 1.1V with +/-4% tolerance */
			regulator-name = "vdd_core";
			regulator-min-microvolt = <925000>;
			regulator-max-microvolt = <1150000>;
			regulator-boot-on;
			regulator-always-on;
		};

		ldo1_reg: regulator@3 {
			regulator-always-on;
		};

		ldo2_reg: regulator@4 {
			regulator-always-on;
		};

		ldo3_reg: regulator@5 {
			regulator-always-on;
		};

		ldo4_reg: regulator@6 {
			regulator-always-on;
		};
	};
};

&mac {
	pinctrl-names = "default", "sleep";
	pinctrl-0 = <&cpsw_default>;
	pinctrl-1 = <&cpsw_sleep>;
	mac_control = <0x38>;
	dual_emac = <1>;

	no_bd_ram = <0>;
	rx_descs = <128>;
};

&davinci_mdio {
	pinctrl-names = "default", "sleep";
	pinctrl-0 = <&davinci_mdio_default>;
	pinctrl-1 = <&davinci_mdio_sleep>;

	phy0-reset-gpio = <&gpio3 18 GPIO_ACTIVE_LOW>;
	phy1-reset-gpio = <&gpio3 19 GPIO_ACTIVE_LOW>;

	phy0: ethernet-phy@0 {
		reg = <2>;
		tx-skew = <0x13>;
		rx-skew = <0x11>;

		#interrupt-cells = <2>;
		interrupt-parent = <&gpio0>;
		interrupts = <6 8>;
		irq-gpio = <&gpio0 6 GPIO_ACTIVE_LOW>;
	};

	phy1: ethernet-phy@1 {
		reg = <3>;
		tx-skew = <0x18>;
		rx-skew = <0x13>;

		#interrupt-cells = <2>;
		interrupt-parent = <&gpio0>;
		interrupts = <20 8>;
		irq-gpio = <&gpio0 20 GPIO_ACTIVE_LOW>;
	};
};

&cpsw_emac0 {
	phy = <&phy0>;

	phy-mode = "rgmii-txid";
	dual_emac_res_vlan = <1>;
	led-fast-gpio = <&gpio2 14 GPIO_ACTIVE_LOW>;
	led-giga-gpio = <&gpio2 15 GPIO_ACTIVE_LOW>;
};

&cpsw_emac1 {
	phy = <&phy1>;

	phy-mode = "rgmii-txid";
	dual_emac_res_vlan = <2>;
	led-fast-gpio = <&gpio2 16 GPIO_ACTIVE_LOW>;
	led-giga-gpio = <&gpio2 17 GPIO_ACTIVE_LOW>;
};

&tscadc {
	status = "okay";

	adc {
		ti,adc-channels = <0 1>;
	};
};

&mmc1 {
	status = "okay";
	vmmc-supply = <&vmmcsd_fixed>;
	bus-width = <4>;
	pinctrl-names = "default";
	pinctrl-0 = <&mmc1_pins>;
	cd-gpios = <&gpio3 0 GPIO_ACTIVE_LOW>;
	wp-gpios = <&gpio3 17 GPIO_ACTIVE_LOW>;
};

&spi0 {
	status = "okay";
	ti,spi-num-cs = <1>;

	/* spi0.0: Micron 16Mbit NOR Flash (M25P16) */
	spi-flash@0 {
		compatible = "m25p16";
		spi-max-frequency = <20000000>;
		reg = <0>;

		#address-cells = <1>;
		#size-cells = <1>;

		/* MTD partition table */
		partition@0 {
			label = "MLO";
			reg = <0x00000000 0x00020000>;
		};

		partition@1 {
			label = "barebox.bin";
			reg = <0x00020000 0x00080000>;
		};

		partition@2 {
			label = "barebox.env";
			reg = <0x000a0000 0x00020000>;
		};

		partition@3 {
			label = "dtb.0";
			reg = <0x000c0000 0x00020000>;
		};

		partition@4 {
			label = "dtb.1";
			reg = <0x000e0000 0x00020000>;
		};

		partition@5 {
			label = "hist_firmup";
			reg = <0x00100000 0x00020000>;
		};

		partition@6 {
			label = "hist_boot";
			reg = <0x00120000 0x000e0000>;
		};
	};
};

&spi1 {
	ti,spi-num-cs = <1>;

	pinctrl-names = "default";
	pinctrl-0 = <&spi1_pins>;

	ltc1859@0 {
		compatible = "ltc185x";
		reg = <0>;
		spi-max-frequency = <1000000>;
		//spi-cpha;
		//spi-cpol;

		vcc-supply = <&xio_adc_supply>;
	};
};

&sham {
	status = "okay";
};

&aes {
	status = "okay";
};
